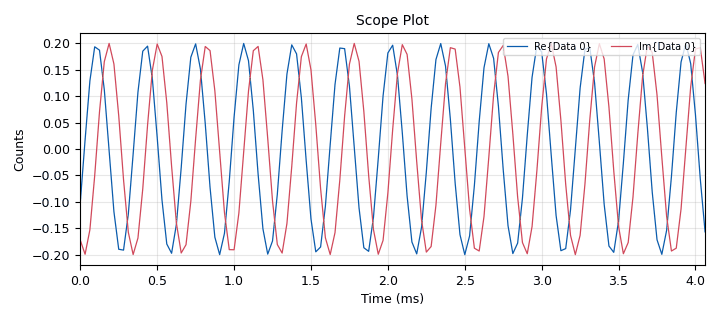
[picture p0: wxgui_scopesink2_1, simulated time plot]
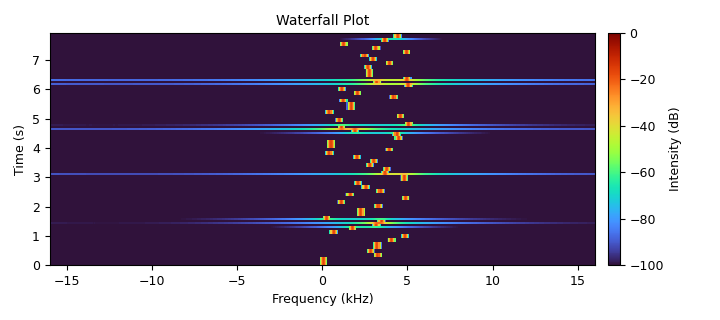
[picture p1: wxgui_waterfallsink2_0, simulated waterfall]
<?xml version='1.0' encoding='utf-8'?>
<?grc format='1' created='3.7.11'?>
<flow_graph>
<block>
<key>options</key>
<param><key>id</key><value>top_block</value></param>
<param><key>author</key><value>Xaratustrah</value></param>
<param><key>generate_options</key><value>wx_gui</value></param>
<param><key>title</key><value>Audio with random source</value></param>
</block>
<block>
<key>variable_static_text</key>
<param><key>id</key><value>Frequency</value></param>
<param><key>converver</key><value>float_converter</value></param>
<param><key>value</key><value>0</value></param>
<param><key>formatter</key><value>None</value></param>
<param><key>grid_pos</key><value>0,0,1,1</value></param>
<param><key>label</key><value>Frequency Control</value></param>
</block>
<block>
<key>variable_slider</key>
<param><key>id</key><value>amp</value></param>
<param><key>converver</key><value>float_converter</value></param>
<param><key>value</key><value>0.2</value></param>
<param><key>grid_pos</key><value>0,2,1,1</value></param>
<param><key>label</key><value></value></param>
<param><key>max</key><value>1</value></param>
<param><key>min</key><value>0</value></param>
<param><key>num_steps</key><value>1000</value></param>
<param><key>style</key><value>wx.SL_HORIZONTAL</value></param>
</block>
<block>
<key>variable_slider</key>
<param><key>id</key><value>freq</value></param>
<param><key>converver</key><value>float_converter</value></param>
<param><key>value</key><value>5000</value></param>
<param><key>grid_pos</key><value>0,1,1,1</value></param>
<param><key>label</key><value></value></param>
<param><key>max</key><value>10000</value></param>
<param><key>min</key><value>1</value></param>
<param><key>num_steps</key><value>100</value></param>
<param><key>style</key><value>wx.SL_HORIZONTAL</value></param>
</block>
<block>
<key>variable_function_probe</key>
<param><key>id</key><value>probe_var</value></param>
<param><key>block_id</key><value>probe</value></param>
<param><key>function_name</key><value>level</value></param>
<param><key>value</key><value>0</value></param>
<param><key>poll_rate</key><value>7</value></param>
</block>
<block>
<key>variable</key>
<param><key>id</key><value>samp_rate</value></param>
<param><key>value</key><value>32000</value></param>
</block>
<block>
<key>variable_text_box</key>
<param><key>id</key><value>variable_text_box_0</value></param>
<param><key>converver</key><value>int_converter</value></param>
<param><key>value</key><value>probe_var</value></param>
<param><key>formatter</key><value>None</value></param>
<param><key>grid_pos</key><value>0,3,1,1</value></param>
<param><key>label</key><value>Frequency</value></param>
</block>
<block>
<key>analog_random_source_x</key>
<param><key>id</key><value>analog_random_source_x_0</value></param>
<param><key>max</key><value>5000</value></param>
<param><key>min</key><value>100</value></param>
<param><key>num_samps</key><value>1000</value></param>
<param><key>type</key><value>int</value></param>
<param><key>repeat</key><value>True</value></param>
</block>
<block>
<key>analog_sig_source_x</key>
<param><key>id</key><value>analog_sig_source_x_0</value></param>
<param><key>amp</key><value>1</value></param>
<param><key>freq</key><value>probe_var</value></param>
<param><key>offset</key><value>0</value></param>
<param><key>type</key><value>complex</value></param>
<param><key>samp_rate</key><value>samp_rate</value></param>
<param><key>waveform</key><value>analog.GR_COS_WAVE</value></param>
</block>
<block>
<key>audio_sink</key>
<param><key>id</key><value>audio_sink_0</value></param>
<param><key>samp_rate</key><value>samp_rate</value></param>
</block>
<block>
<key>blocks_complex_to_real</key>
<param><key>id</key><value>blocks_complex_to_real_0</value></param>
</block>
<block>
<key>blocks_multiply_const_vxx</key>
<param><key>id</key><value>blocks_multiply_const_vxx_0</value></param>
<param><key>const</key><value>amp</value></param>
<param><key>type</key><value>complex</value></param>
</block>
<block>
<key>blocks_throttle</key>
<param><key>id</key><value>blocks_throttle_0</value></param>
<param><key>samples_per_second</key><value>samp_rate</value></param>
<param><key>type</key><value>complex</value></param>
</block>
<block>
<key>blocks_probe_signal_x</key>
<param><key>id</key><value>probe</value></param>
<param><key>type</key><value>int</value></param>
</block>
<block>
<key>wxgui_scopesink2</key>
<param><key>id</key><value>wxgui_scopesink2_1</value></param>
<param><key>ac_couple</key><value>False</value></param>
<param><key>grid_pos</key><value>1,0,1,4</value></param>
<param><key>num_inputs</key><value>1</value></param>
<param><key>samp_rate</key><value>samp_rate</value></param>
<param><key>t_scale</key><value>0</value></param>
<param><key>title</key><value>Scope Plot</value></param>
<param><key>trig_mode</key><value>wxgui.TRIG_MODE_AUTO</value></param>
<param><key>type</key><value>complex</value></param>
<param><key>v_offset</key><value>0</value></param>
<param><key>v_scale</key><value>0</value></param>
<param><key>xy_mode</key><value>False</value></param>
<param><key>y_axis_label</key><value>Counts</value></param>
</block>
<block>
<key>wxgui_waterfallsink2</key>
<param><key>id</key><value>wxgui_waterfallsink2_0</value></param>
<param><key>avg_alpha</key><value>0</value></param>
<param><key>average</key><value>False</value></param>
<param><key>baseband_freq</key><value>0</value></param>
<param><key>dynamic_range</key><value>100</value></param>
<param><key>fft_rate</key><value>15</value></param>
<param><key>fft_size</key><value>512</value></param>
<param><key>freqvar</key><value>None</value></param>
<param><key>grid_pos</key><value>2,0,1,4</value></param>
<param><key>ref_scale</key><value>2.0</value></param>
<param><key>ref_level</key><value>0</value></param>
<param><key>samp_rate</key><value>samp_rate</value></param>
<param><key>title</key><value>Waterfall Plot</value></param>
<param><key>type</key><value>complex</value></param>
<param><key>win</key><value>None</value></param>
</block>
<connection><source_block_id>analog_random_source_x_0</source_block_id><sink_block_id>probe</sink_block_id><source_key>0</source_key><sink_key>0</sink_key></connection>
<connection><source_block_id>analog_sig_source_x_0</source_block_id><sink_block_id>blocks_throttle_0</sink_block_id><source_key>0</source_key><sink_key>0</sink_key></connection>
<connection><source_block_id>blocks_complex_to_real_0</source_block_id><sink_block_id>audio_sink_0</sink_block_id><source_key>0</source_key><sink_key>0</sink_key></connection>
<connection><source_block_id>blocks_multiply_const_vxx_0</source_block_id><sink_block_id>blocks_complex_to_real_0</sink_block_id><source_key>0</source_key><sink_key>0</sink_key></connection>
<connection><source_block_id>blocks_multiply_const_vxx_0</source_block_id><sink_block_id>wxgui_scopesink2_1</sink_block_id><source_key>0</source_key><sink_key>0</sink_key></connection>
<connection><source_block_id>blocks_multiply_const_vxx_0</source_block_id><sink_block_id>wxgui_waterfallsink2_0</sink_block_id><source_key>0</source_key><sink_key>0</sink_key></connection>
<connection><source_block_id>blocks_throttle_0</source_block_id><sink_block_id>blocks_multiply_const_vxx_0</sink_block_id><source_key>0</source_key><sink_key>0</sink_key></connection>
</flow_graph>
